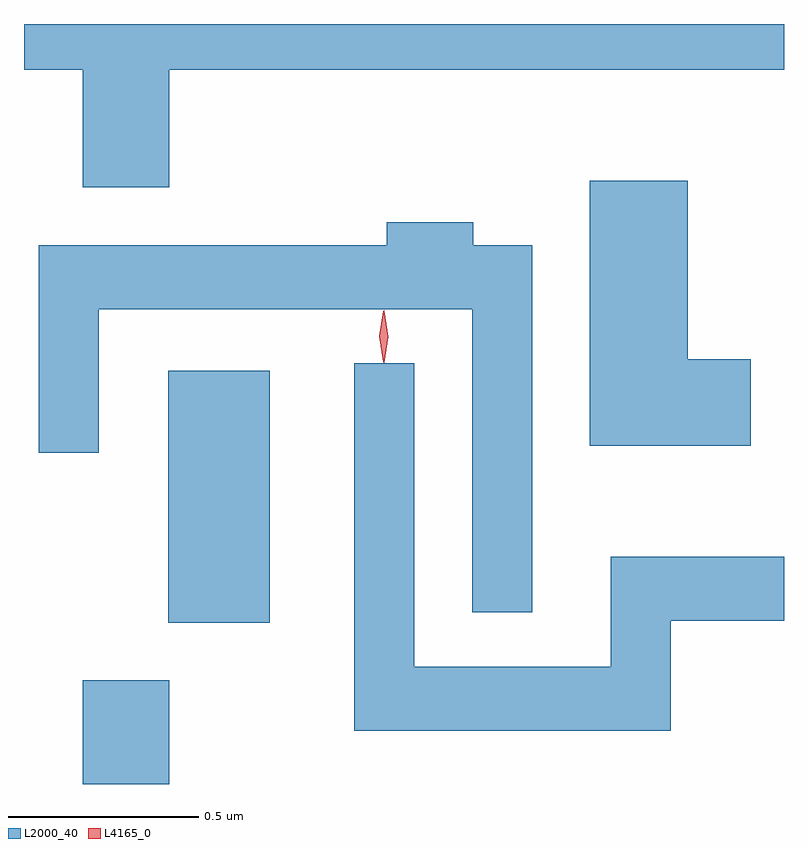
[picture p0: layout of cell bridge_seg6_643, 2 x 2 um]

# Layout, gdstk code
import gdstk
lib = gdstk.Library(unit=1e-6, precision=1e-09)
def R(c, l, rs):  # rectangles x0, y0, x1, y1
    for r in rs: c.add(gdstk.rectangle(r[:2], r[2:], *l))
def P(c, l, *ps):  # polygons
    for p in ps: c.add(gdstk.Polygon(p, *l))
L2000_40 = (2000, 40)
L4165_0 = (4165, 0)

bridge_seg6_643 = lib.new_cell('bridge_seg6_643')
R(bridge_seg6_643, L2000_40, [(508.451,1630.296,508.679,1630.569), (508.676,1630.721,508.944,1631.384)])
P(bridge_seg6_643, L2000_40, [(508.679,1632.176),(510.297,1632.176),(510.297,1632.296),(508.297,1632.296),(508.297,1632.176),(508.451,1632.176),(508.451,1631.866),(508.679,1631.866)],
  [(510.209,1631.414),(510.044,1631.414),(510.044,1631.884),(509.786,1631.884),(509.786,1631.186),(510.209,1631.186)],
  [(509.634,1631.714),(509.479,1631.714),(509.479,1631.774),(509.251,1631.774),(509.251,1631.714),(508.336,1631.714),(508.336,1631.168),(508.494,1631.168),(508.494,1631.546),(509.476,1631.546),(509.476,1630.748),(509.634,1630.748)],
  [(509.999,1630.726),(510.297,1630.726),(510.297,1630.894),(509.841,1630.894),(509.841,1630.604),(509.324,1630.604),(509.324,1631.403),(509.166,1631.403),(509.166,1630.436),(509.999,1630.436)])
P(bridge_seg6_643, L4165_0, [(509.242,1631.407),(509.242,1631.407),(509.232,1631.474),(509.242,1631.54),(509.242,1631.54),(509.243,1631.54),(509.252,1631.474),(509.243,1631.407)],
  [(509.244,1631.404),(509.235,1631.473),(509.244,1631.542),(509.245,1631.543),(509.245,1631.542),(509.255,1631.473),(509.245,1631.404),(509.245,1631.404)])

lib.write_gds('bridge_seg6_643.gds')
